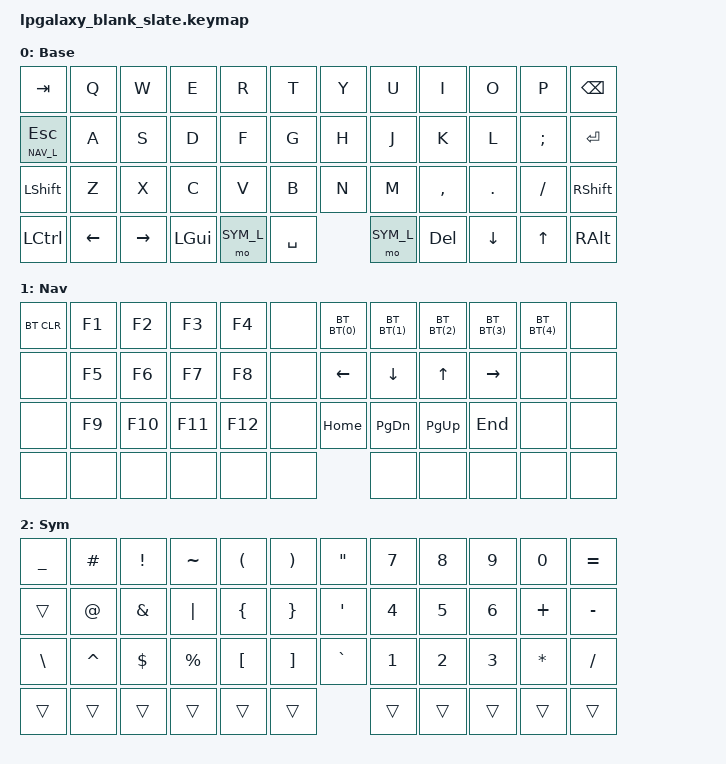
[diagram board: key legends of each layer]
/*
 * Copyright (c) 2022 Pete Johanson
 *
 * SPDX-License-Identifier: MIT
 */

#include <behaviors.dtsi>
#include <dt-bindings/zmk/keys.h>
#include <dt-bindings/zmk/bt.h>
#include <dt-bindings/zmk/outputs.h>

#define SYM_L 2
#define NAV_L 1

// Using layer taps on thumbs, having quick tap as well helps w/ repeating space/backspace
&lt { quick_tap_ms = <200>; };

#define BT(n) BT_SEL n

/ {
    chosen {
       zmk,matrix_transform =
                       &mit_transform;
    };

    macros {
      ZMK_MACRO(thumbs_up,
		wait-ms = <1>;
		tap-ms = <5>;
                bindings = <&kp PLUS &kp COLON &kp PLUS &kp N1 &kp COLON &kp RET>;
		)
    };
    
    tap_dances {
    	shifty: shift_caps_word {
		compatible = "zmk,behavior-tap-dance";
		label = "TD_SHIFTY";
		#binding-cells = <0>;
		tapping-term-ms = <150>;
		bindings = <&kp LSHFT>, <&caps_word>;
	};
    };

    keymap {
        compatible = "zmk,keymap";

        base_layer {
            label = "Base";
            bindings = <
 &kp TAB          &kp Q      &kp W      &kp E       &kp R          &kp T          &kp Y            &kp U          &kp I       &kp O        &kp P         &kp BKSP
 &lt NAV_L ESC    &kp A      &kp S      &kp D       &kp F          &kp G          &kp H            &kp J          &kp K       &kp L        &kp SEMI      &kp RET
 &kp LSHFT        &kp Z      &kp X      &kp C       &kp V          &kp B          &kp N            &kp M          &kp COMMA   &kp DOT      &kp FSLH      &kp RSHFT
 &kp LCTRL        &kp LEFT   &kp RIGHT  &kp LGUI    &mo SYM_L          &kp SPACE                   &mo SYM_L      &kp DEL     &kp DOWN     &kp UP        &kp RALT
            >;
        };

        nav_layer {
            label = "Nav";
            bindings = <
&bt BT_CLR  &kp F1   &kp F2    &kp F3    &kp F4      &none   &bt BT(0)    &bt BT(1)   &bt BT(2)  &bt BT(3)  &bt BT(4) &none
&none       &kp F5   &kp F6    &kp F7    &kp F8      &none   &kp LEFT     &kp DOWN    &kp UP     &kp RIGHT  &none     &none
&none       &kp F9   &kp F10   &kp F11   &kp F12     &none   &kp HOME     &kp PG_DN   &kp PG_UP  &kp END    &none     &none
&none       &none    &none     &none     &none            &none           &none       &none      &none      &none     &none
            >;
        };

        sym_layer {
            label = "Sym";
            bindings = <
&kp UNDER  &kp HASH   &kp EXCL   &kp TILDE   &kp LPAR    &kp RPAR    &kp DQT       &kp N7     &kp N8      &kp N9       &kp N0       &kp EQUAL
&trans     &kp AT     &kp AMPS   &kp PIPE    &kp LBRC    &kp RBRC    &kp APOS      &kp N4     &kp N5      &kp N6       &kp PLUS     &kp MINUS
&kp BSLH   &kp CARET  &kp DLLR   &kp PRCNT   &kp LBKT    &kp RBKT    &kp GRAVE     &kp N1     &kp N2      &kp N3       &kp STAR     &kp FSLH
&trans     &trans     &trans     &trans      &trans             &trans             &trans     &trans      &trans       &trans       &trans
            >;
        };
    };
};

